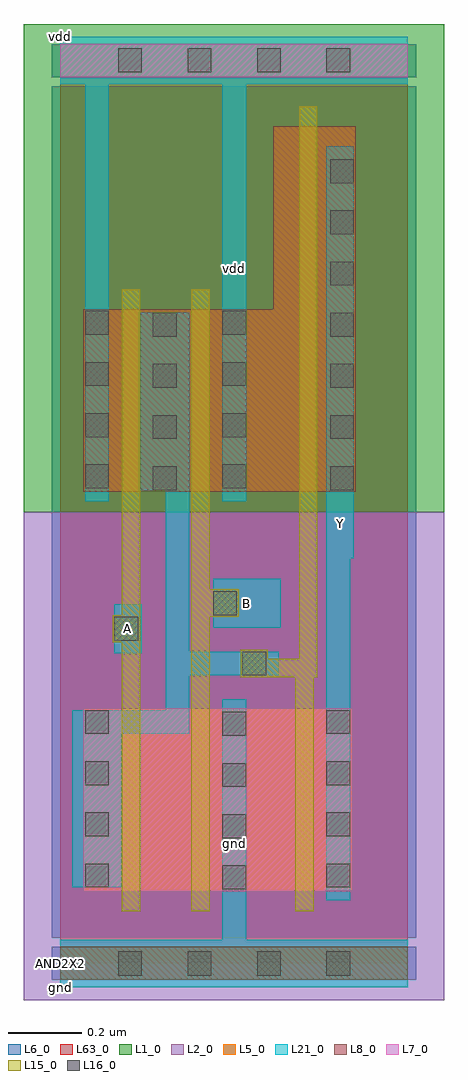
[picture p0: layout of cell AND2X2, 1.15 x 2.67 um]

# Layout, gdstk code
import gdstk
lib = gdstk.Library(unit=1e-6, precision=1e-09)
def R(c, l, rs):  # rectangles x0, y0, x1, y1
    for r in rs: c.add(gdstk.rectangle(r[:2], r[2:], *l))
def A(c, l, x, y, w, h, nx, ny, dx, dy):  # array of equal rectangles
    R(c, l, [(x+i*dx, y+j*dy, x+i*dx+w, y+j*dy+h) for i in range(nx) for j in range(ny)])
def P(c, l, *ps):  # polygons
    for p in ps: c.add(gdstk.Polygon(p, *l))
L1_0 = (1, 0)
L2_0 = (2, 0)
L5_0 = (5, 0)
L6_0 = (6, 0)
L7_0 = (7, 0)
L8_0 = (8, 0)
L15_0 = (15, 0)
L16_0 = (16, 0)
L21_0 = (21, 0)
L63_0 = (63, 0)

and2x2 = lib.new_cell('AND2X2')
R(and2x2, L1_0, [(-0.1,1.235,1.05,2.57)])
R(and2x2, L2_0, [(-0.1,-0.1,1.05,1.235)])
R(and2x2, L5_0, [(0,-0.045,0.95,0.045), (0.063,0.198,0.168,0.698), (0.168,0.198,0.218,0.698), (0.218,0.198,0.358,0.698), (0.358,0.198,0.408,0.698), (0.408,0.198,0.643,0.698), (0.643,0.198,0.693,0.698), (0.693,0.198,0.798,0.698), (0.063,1.29,0.168,1.79), (0.168,1.29,0.218,1.79), (0.218,1.29,0.358,1.79), (0.358,1.29,0.408,1.79), (0.653,1.29,0.703,2.29), (0.703,1.29,0.808,2.29), (0,2.425,0.95,2.515)])
P(and2x2, L5_0, [(0.583,1.79),(0.583,2.29),(0.653,2.29),(0.653,1.29),(0.408,1.29),(0.408,1.79)])
R(and2x2, L6_0, [(-0.023,-0.045,0.973,0.045), (-0.023,-0.045,0.973,0.045), (-0.023,0.07,0.973,1.235), (-0.023,1.235,0.973,2.4), (-0.023,2.425,0.973,2.515), (-0.023,2.425,0.973,2.515)])
R(and2x2, L7_0, [(0.063,0.198,0.168,0.698), (0.168,0.198,0.218,0.698), (0.218,0.198,0.358,0.698), (0.358,0.198,0.408,0.698), (0.408,0.198,0.643,0.698), (0.643,0.198,0.693,0.698), (0.693,0.198,0.798,0.698), (0,2.425,0.95,2.515)])
R(and2x2, L8_0, [(0,-0.045,0.95,0.045), (0.063,1.29,0.168,1.79), (0.168,1.29,0.218,1.79), (0.218,1.29,0.358,1.79), (0.358,1.29,0.408,1.79), (0.653,1.29,0.703,2.29), (0.703,1.29,0.808,2.29)])
P(and2x2, L8_0, [(0.583,1.79),(0.583,2.29),(0.653,2.29),(0.653,1.29),(0.408,1.29),(0.408,1.79)])
R(and2x2, L15_0, [(0.168,0.143,0.218,0.198), (0.358,0.143,0.408,0.198), (0.643,0.143,0.693,0.198), (0.168,0.198,0.218,0.698), (0.358,0.198,0.408,0.698), (0.643,0.198,0.693,0.698), (0.168,1.29,0.218,1.79), (0.358,1.29,0.408,1.79), (0.653,1.29,0.703,2.29), (0.168,1.79,0.218,1.845), (0.358,1.79,0.408,1.845), (0.653,2.29,0.703,2.345)])
P(and2x2, L15_0, [(0.168,0.878),(0.143,0.878),(0.143,0.953),(0.168,0.953),(0.168,1.29),(0.218,1.29),(0.218,0.698),(0.168,0.698)],
  [(0.358,1.29),(0.408,1.29),(0.408,1.023),(0.488,1.023),(0.488,0.948),(0.408,0.948),(0.408,0.698),(0.358,0.698)],
  [(0.643,0.783),(0.493,0.783),(0.493,0.858),(0.568,0.858),(0.568,0.833),(0.653,0.833),(0.653,1.29),(0.703,1.29),(0.703,0.783),(0.693,0.783),(0.693,0.698),(0.643,0.698)])
A(and2x2, L16_0, 0.158, -0.033, 0.065, 0.066, 4, 1, 0.19, 0)
A(and2x2, L16_0, 0.443, 0.203, 0.065, 0.065, 1, 4, 0, 0.14)
A(and2x2, L16_0, 0.068, 0.208, 0.065, 0.065, 1, 4, 0, 0.14)
A(and2x2, L16_0, 0.728, 0.208, 0.065, 0.065, 1, 4, 0, 0.14)
A(and2x2, L16_0, 0.253, 1.295, 0.065, 0.065, 1, 4, 0, 0.14)
A(and2x2, L16_0, 0.738, 1.295, 0.065, 0.065, 1, 7, 0, 0.14)
A(and2x2, L16_0, 0.068, 1.3, 0.065, 0.065, 1, 4, 0, 0.14)
A(and2x2, L16_0, 0.443, 1.3, 0.065, 0.065, 1, 4, 0, 0.14)
A(and2x2, L16_0, 0.158, 2.438, 0.065, 0.065, 4, 1, 0.19, 0)
R(and2x2, L16_0, [(0.498,0.788,0.563,0.853), (0.148,0.883,0.213,0.948), (0.418,0.953,0.483,1.018)])
R(and2x2, L21_0, [(0.148,0.848,0.223,0.983), (0.418,0.918,0.603,1.053)])
P(and2x2, L21_0, [(0,2.405),(0,2.535),(0.95,2.535),(0.95,2.405),(0.508,2.405),(0.508,1.265),(0.443,1.265),(0.443,2.405),(0.133,2.405),(0.133,1.265),(0.068,1.265),(0.068,2.405)],
  [(0,-0.065),(0,0.065),(0.443,0.065),(0.443,0.723),(0.508,0.723),(0.508,0.065),(0.95,0.065),(0.95,-0.065)],
  [(0.353,0.628),(0.168,0.628),(0.168,0.208),(0.033,0.208),(0.033,0.693),(0.288,0.693),(0.288,1.295),(0.218,1.295),(0.218,1.78),(0.353,1.78),(0.353,0.853),(0.598,0.853),(0.598,0.788),(0.353,0.788)],
  [(0.728,2.235),(0.803,2.235),(0.803,1.108),(0.793,1.108),(0.793,0.173),(0.728,0.173)])
R(and2x2, L63_0, [(0,0,0.95,2.47)])
and2x2.add(gdstk.Label('vdd', (0.475,1.9), layer=21, texttype=1))
and2x2.add(gdstk.Label('gnd', (0.475,0.329), layer=21, texttype=1))
and2x2.add(gdstk.Label('A', (0.185,0.915), layer=21, texttype=1))
and2x2.add(gdstk.Label('B', (0.51,0.985), layer=21, texttype=1))
and2x2.add(gdstk.Label('Y', (0.765,1.204), layer=21, texttype=1))
and2x2.add(gdstk.Label('vdd', (0,2.535), layer=21, texttype=2))
and2x2.add(gdstk.Label('gnd', (0,-0.065), layer=21, texttype=2))
and2x2.add(gdstk.Label('AND2X2', (0,0), layer=63, texttype=1))

lib.write_gds('AND2X2.gds')
